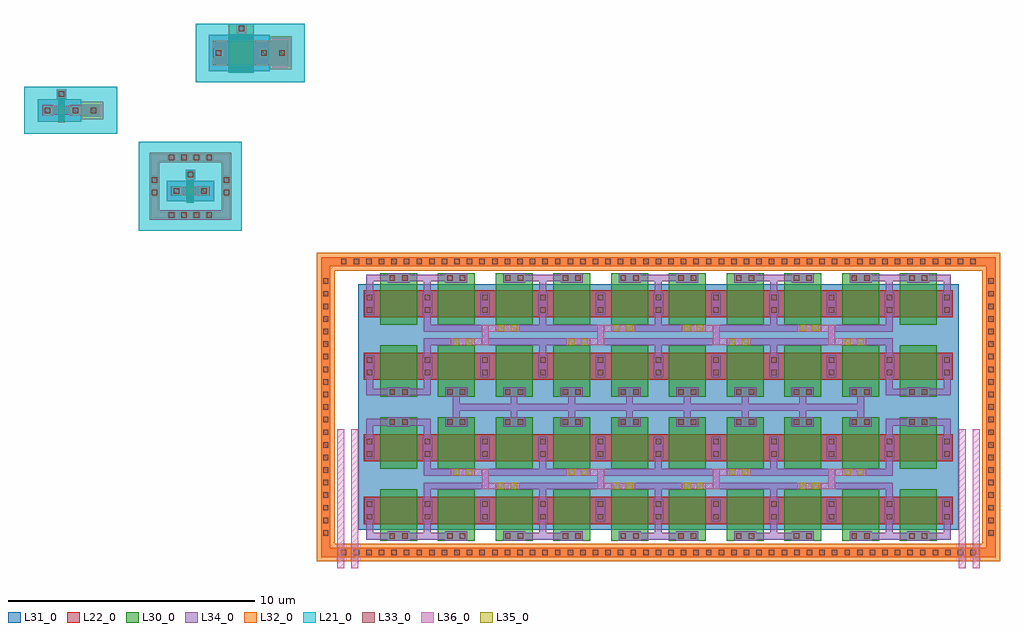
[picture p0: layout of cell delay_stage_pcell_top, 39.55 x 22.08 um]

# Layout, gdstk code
from math import pi, radians
import gdstk
lib = gdstk.Library(unit=1e-6, precision=5e-09)
def R(c, l, rs):  # rectangles x0, y0, x1, y1
    for r in rs: c.add(gdstk.rectangle(r[:2], r[2:], *l))
def A(c, l, x, y, w, h, nx, ny, dx, dy):  # array of equal rectangles
    R(c, l, [(x+i*dx, y+j*dy, x+i*dx+w, y+j*dy+h) for i in range(nx) for j in range(ny)])
def P(c, l, *ps):  # polygons
    for p in ps: c.add(gdstk.Polygon(p, *l))
L21_0 = (21, 0)
L22_0 = (22, 0)
L30_0 = (30, 0)
L31_0 = (31, 0)
L32_0 = (32, 0)
L33_0 = (33, 0)
L34_0 = (34, 0)
L35_0 = (35, 0)
L36_0 = (36, 0)

pfet = lib.new_cell('pfet')

pfet_2 = lib.new_cell('pfet$2')
R(pfet_2, L21_0, [(-1.76,-1.43,2.42,2.17)])
R(pfet_2, L22_0, [(-0.46,-0.01,0,0.37), (0.66,-0.01,1.12,0.37), (0,0,0.66,0.36)])
P(pfet_2, L22_0, [(-1.32,-0.99),(-1.32,1.35),(-0.94,1.35),(-0.94,-0.61),(1.6,-0.61),(1.6,1.35),(-1.32,1.35),(-1.32,1.73),(1.98,1.73),(1.98,-0.99)])
R(pfet_2, L30_0, [(0.19,-0.3,0.47,0.66), (0.14,0.66,0.52,1.04)])
R(pfet_2, L31_0, [(-0.63,-0.24,1.29,0.6)])
A(pfet_2, L33_0, -0.545, -0.91, 0.22, 0.22, 4, 2, 0.51, 2.34)
R(pfet_2, L33_0, [(-1.24,0.005,-1.02,0.225), (1.68,0.005,1.9,0.225), (-0.34,0.07,-0.12,0.29), (0.78,0.07,1,0.29), (-1.24,0.515,-1.02,0.735), (1.68,0.515,1.9,0.735), (0.22,0.74,0.44,0.96)])
R(pfet_2, L34_0, [(-0.42,-0.01,-0.04,0.37), (0.7,-0.01,1.08,0.37), (0.14,0.66,0.52,1.04)])

pfet_3 = lib.new_cell('pfet$3')
R(pfet_3, L21_0, [(-1.19,-0.77,2.58,1.13)])
R(pfet_3, L22_0, [(-0.46,-0.04,0,0.4), (0.66,-0.04,1.12,0.4), (1.12,-0.04,1.85,0.4), (0,0,0.66,0.36)])
R(pfet_3, L30_0, [(0.19,-0.3,0.47,0.66), (0.14,0.66,0.52,1.04)])
R(pfet_3, L31_0, [(-0.63,-0.28,1.12,0.64)])
R(pfet_3, L32_0, [(1.12,-0.17,2.02,0.53)])
R(pfet_3, L33_0, [(-0.34,0.07,-0.12,0.29), (0.78,0.07,1,0.29), (1.51,0.07,1.73,0.29), (0.22,0.74,0.44,0.96)])
R(pfet_3, L34_0, [(-0.42,-0.01,-0.04,0.37), (0.7,-0.01,1.08,0.37), (1.43,-0.01,1.81,0.37), (0.14,0.66,0.52,1.04)])

pfet_5 = lib.new_cell('pfet$5')
R(pfet_5, L21_0, [(-1.15,-0.69,3.26,1.69)])
R(pfet_5, L22_0, [(-0.46,0,0,1), (0,0,1.38,1), (1.38,0,1.84,1), (1.84,0,2.57,1)])
R(pfet_5, L30_0, [(0.19,-0.3,1.19,1.3), (0.19,1.3,1.19,1.68)])
R(pfet_5, L31_0, [(-0.63,-0.24,1.84,1.24)])
R(pfet_5, L32_0, [(1.84,-0.17,2.74,1.17)])
R(pfet_5, L33_0, [(-0.34,0.39,-0.12,0.61), (1.5,0.39,1.72,0.61), (2.23,0.39,2.45,0.61), (0.58,1.38,0.8,1.6)])
R(pfet_5, L34_0, [(-0.42,0.31,-0.04,0.69), (1.42,0.31,1.8,0.69), (2.15,0.31,2.53,0.69), (0.5,1.3,0.88,1.68)])

delay_stage_pcell_1_2_1 = lib.new_cell('delay_stage_pcell_1$2$1')
R(delay_stage_pcell_1_2_1, L22_0, [(0.17,0.3,0.63,1.4), (0.63,0.3,2.51,1.4), (2.51,0.3,2.97,1.4)])
R(delay_stage_pcell_1_2_1, L30_0, [(0.82,0,2.32,1.7)])
R(delay_stage_pcell_1_2_1, L33_0, [(0.29,0.485,0.51,0.705), (2.63,0.485,2.85,0.705), (0.29,0.995,0.51,1.215), (2.63,0.995,2.85,1.215)])
R(delay_stage_pcell_1_2_1, L34_0, [(0.21,0.405,0.59,1.295), (2.55,0.405,2.93,1.295)])

delay_stage_pcell_4_2 = lib.new_cell('delay_stage_pcell_4$2')
delay_stage_pcell_4_2.add(gdstk.Reference(delay_stage_pcell_1_2_1, (-0.17,0)))
delay_stage_pcell_4_2.add(gdstk.Reference(delay_stage_pcell_1_2_1, (2.17,0)))
delay_stage_pcell_4_2.add(gdstk.Reference(delay_stage_pcell_1_2_1, (4.51,0)))
delay_stage_pcell_4_2.add(gdstk.Reference(delay_stage_pcell_1_2_1, (6.85,0)))

delay_stage_pcell_4_4 = lib.new_cell('delay_stage_pcell_4_4')
R(delay_stage_pcell_4_4, L30_0, [(0.65,0,2.15,0.38), (0.65,0,2.15,0.38), (2.99,0,4.49,0.38), (2.99,0,4.49,0.38), (5.33,0,6.83,0.38), (5.33,0,6.83,0.38), (7.67,0,9.17,0.38), (7.67,0,9.17,0.38), (0.65,4.62,2.15,5), (0.65,4.62,2.15,5), (2.99,4.62,4.49,5), (2.99,4.62,4.49,5), (5.33,4.62,6.83,5), (5.33,4.62,6.83,5), (7.67,4.62,9.17,5), (7.67,4.62,9.17,5), (0.65,5.84,2.15,6.22), (0.65,5.84,2.15,6.22), (2.99,5.84,4.49,6.22), (2.99,5.84,4.49,6.22), (5.33,5.84,6.83,6.22), (5.33,5.84,6.83,6.22), (7.67,5.84,9.17,6.22), (7.67,5.84,9.17,6.22), (0.65,10.46,2.15,10.84), (0.65,10.46,2.15,10.84), (2.99,10.46,4.49,10.84), (2.99,10.46,4.49,10.84), (5.33,10.46,6.83,10.84), (5.33,10.46,6.83,10.84), (7.67,10.46,9.17,10.84), (7.67,10.46,9.17,10.84)])
R(delay_stage_pcell_4_4, L33_0, [(1.035,0.08,1.255,0.3), (1.035,0.08,1.255,0.3), (1.545,0.08,1.765,0.3), (1.545,0.08,1.765,0.3), (3.375,0.08,3.595,0.3), (3.375,0.08,3.595,0.3), (3.885,0.08,4.105,0.3), (3.885,0.08,4.105,0.3), (5.715,0.08,5.935,0.3), (5.715,0.08,5.935,0.3), (6.225,0.08,6.445,0.3), (6.225,0.08,6.445,0.3), (8.055,0.08,8.275,0.3), (8.055,0.08,8.275,0.3), (8.565,0.08,8.785,0.3), (8.565,0.08,8.785,0.3), (1.035,4.7,1.255,4.92), (1.035,4.7,1.255,4.92), (1.545,4.7,1.765,4.92), (1.545,4.7,1.765,4.92), (3.375,4.7,3.595,4.92), (3.375,4.7,3.595,4.92), (3.885,4.7,4.105,4.92), (3.885,4.7,4.105,4.92), (5.715,4.7,5.935,4.92), (5.715,4.7,5.935,4.92), (6.225,4.7,6.445,4.92), (6.225,4.7,6.445,4.92), (8.055,4.7,8.275,4.92), (8.055,4.7,8.275,4.92), (8.565,4.7,8.785,4.92), (8.565,4.7,8.785,4.92), (1.035,5.92,1.255,6.14), (1.035,5.92,1.255,6.14), (1.545,5.92,1.765,6.14), (1.545,5.92,1.765,6.14), (3.375,5.92,3.595,6.14), (3.375,5.92,3.595,6.14), (3.885,5.92,4.105,6.14), (3.885,5.92,4.105,6.14), (5.715,5.92,5.935,6.14), (5.715,5.92,5.935,6.14), (6.225,5.92,6.445,6.14), (6.225,5.92,6.445,6.14), (8.055,5.92,8.275,6.14), (8.055,5.92,8.275,6.14), (8.565,5.92,8.785,6.14), (8.565,5.92,8.785,6.14), (1.035,10.54,1.255,10.76), (1.035,10.54,1.255,10.76), (1.545,10.54,1.765,10.76), (1.545,10.54,1.765,10.76), (3.375,10.54,3.595,10.76), (3.375,10.54,3.595,10.76), (3.885,10.54,4.105,10.76), (3.885,10.54,4.105,10.76), (5.715,10.54,5.935,10.76), (5.715,10.54,5.935,10.76), (6.225,10.54,6.445,10.76), (6.225,10.54,6.445,10.76), (8.055,10.54,8.275,10.76), (8.055,10.54,8.275,10.76), (8.565,10.54,8.785,10.76), (8.565,10.54,8.785,10.76)])
R(delay_stage_pcell_4_4, L34_0, [(0.955,0,1.845,0.38), (3.295,0,4.185,0.38), (3.295,0,4.185,0.38), (5.635,0,6.525,0.38), (5.635,0,6.525,0.38), (7.975,0,8.865,0.38), (0.955,4.62,1.845,5), (0.955,4.62,1.845,5), (3.295,4.62,4.185,5), (3.295,4.62,4.185,5), (5.635,4.62,6.525,5), (5.635,4.62,6.525,5), (7.975,4.62,8.865,5), (0.955,5.84,1.845,6.22), (0.955,5.84,1.845,6.22), (3.295,5.84,4.185,6.22), (3.295,5.84,4.185,6.22), (5.635,5.84,6.525,6.22), (5.635,5.84,6.525,6.22), (7.975,5.84,8.865,6.22), (7.975,5.84,8.865,6.22), (0.955,10.46,1.845,10.84), (3.295,10.46,4.185,10.84), (3.295,10.46,4.185,10.84), (5.635,10.46,6.525,10.84), (5.635,10.46,6.525,10.84), (7.975,10.46,8.865,10.84)])
R(delay_stage_pcell_4_4, L35_0, [(1.27,2.09,1.53,2.35), (1.27,2.09,1.53,2.35), (1.79,2.09,2.05,2.35), (1.79,2.09,2.05,2.35), (5.95,2.09,6.21,2.35), (5.95,2.09,6.21,2.35), (6.47,2.09,6.73,2.35), (6.47,2.09,6.73,2.35), (3.09,2.65,3.35,2.91), (3.09,2.65,3.35,2.91), (3.61,2.65,3.87,2.91), (3.61,2.65,3.87,2.91), (7.77,2.65,8.03,2.91), (7.77,2.65,8.03,2.91), (8.29,2.65,8.55,2.91), (8.29,2.65,8.55,2.91), (3.09,7.93,3.35,8.19), (3.09,7.93,3.35,8.19), (3.61,7.93,3.87,8.19), (3.61,7.93,3.87,8.19), (7.77,7.93,8.03,8.19), (7.77,7.93,8.03,8.19), (8.29,7.93,8.55,8.19), (8.29,7.93,8.55,8.19), (1.27,8.49,1.53,8.75), (1.27,8.49,1.53,8.75), (1.79,8.49,2.05,8.75), (1.79,8.49,2.05,8.75), (5.95,8.49,6.21,8.75), (5.95,8.49,6.21,8.75), (6.47,8.49,6.73,8.75), (6.47,8.49,6.73,8.75)])
delay_stage_pcell_4_4.add(gdstk.FlexPath([(8.56,5.42),(0.23,5.42)], 0.28, ends="flush", simple_path=True, layer=34, datatype=0))  # L34_0
delay_stage_pcell_4_4.add(gdstk.FlexPath([(4.185,10.65),(5.635,10.65)], 0.28, ends="flush", simple_path=True, layer=34, datatype=0))  # L34_0
delay_stage_pcell_4_4.add(gdstk.FlexPath([(4.91,10.055),(4.91,10.51)], 0.28, ends="flush", simple_path=True, layer=34, datatype=0))  # L34_0
delay_stage_pcell_4_4.add(gdstk.FlexPath([(0.955,10.65),(0.23,10.65),(0.23,10.055)], 0.28, ends="flush", simple_path=True, layer=34, datatype=0))  # L34_0
delay_stage_pcell_4_4.add(gdstk.FlexPath([(8.865,10.65),(9.59,10.65),(9.59,10.055)], 0.28, ends="flush", simple_path=True, layer=34, datatype=0))  # L34_0
delay_stage_pcell_4_4.add(gdstk.FlexPath([(4.185,0.19),(5.635,0.19)], 0.28, ends="flush", simple_path=True, layer=34, datatype=0))  # L34_0
delay_stage_pcell_4_4.add(gdstk.FlexPath([(4.91,0.785),(4.91,0.33)], 0.28, ends="flush", simple_path=True, layer=34, datatype=0))  # L34_0
delay_stage_pcell_4_4.add(gdstk.FlexPath([(0.955,0.19),(0.23,0.19),(0.23,0.785)], 0.28, ends="flush", simple_path=True, layer=34, datatype=0))  # L34_0
delay_stage_pcell_4_4.add(gdstk.FlexPath([(8.865,0.19),(9.59,0.19),(9.59,0.785)], 0.28, ends="flush", simple_path=True, layer=34, datatype=0))  # L34_0
delay_stage_pcell_4_4.add(gdstk.FlexPath([(9.59,1.675),(9.59,2.22),(8.65,2.22)], 0.28, ends="flush", simple_path=True, layer=34, datatype=0))  # L34_0
delay_stage_pcell_4_4.add(gdstk.FlexPath([(9.59,1.675),(9.59,2.22),(8.65,2.22)], 0.28, ends="flush", simple_path=True, layer=34, datatype=0))  # L34_0
delay_stage_pcell_4_4.add(gdstk.FlexPath([(4.91,1.675),(4.91,2.08)], 0.28, ends="flush", simple_path=True, layer=34, datatype=0))  # L34_0
delay_stage_pcell_4_4.add(gdstk.FlexPath([(4.91,1.675),(4.91,2.08)], 0.28, ends="flush", simple_path=True, layer=34, datatype=0))  # L34_0
delay_stage_pcell_4_4.add(gdstk.FlexPath([(0.23,1.675),(0.23,2.22),(1.17,2.22)], 0.28, ends="flush", simple_path=True, layer=34, datatype=0))  # L34_0
delay_stage_pcell_4_4.add(gdstk.FlexPath([(0.23,1.675),(0.23,2.22),(1.17,2.22)], 0.28, ends="flush", simple_path=True, layer=34, datatype=0))  # L34_0
delay_stage_pcell_4_4.add(gdstk.FlexPath([(8.65,2.22),(7.25,2.22),(7.25,2.78),(5.85,2.78)], 0.28, ends="flush", simple_path=True, layer=34, datatype=0))  # L34_0
delay_stage_pcell_4_4.add(gdstk.FlexPath([(8.65,2.22),(7.25,2.22),(7.25,2.78),(5.85,2.78)], 0.28, ends="flush", simple_path=True, layer=34, datatype=0))  # L34_0
delay_stage_pcell_4_4.add(gdstk.FlexPath([(6.83,2.22),(5.85,2.22)], 0.28, ends="flush", simple_path=True, layer=34, datatype=0))  # L34_0
delay_stage_pcell_4_4.add(gdstk.FlexPath([(6.83,2.22),(5.85,2.22)], 0.28, ends="flush", simple_path=True, layer=34, datatype=0))  # L34_0
delay_stage_pcell_4_4.add(gdstk.FlexPath([(3.97,2.22),(5.85,2.22)], 0.28, ends="flush", simple_path=True, layer=34, datatype=0))  # L34_0
delay_stage_pcell_4_4.add(gdstk.FlexPath([(3.97,2.22),(5.85,2.22)], 0.28, ends="flush", simple_path=True, layer=34, datatype=0))  # L34_0
delay_stage_pcell_4_4.add(gdstk.FlexPath([(3.97,2.22),(2.57,2.22),(2.57,2.78),(1.17,2.78)], 0.28, ends="flush", simple_path=True, layer=34, datatype=0))  # L34_0
delay_stage_pcell_4_4.add(gdstk.FlexPath([(3.97,2.22),(2.57,2.22),(2.57,2.78),(1.17,2.78)], 0.28, ends="flush", simple_path=True, layer=34, datatype=0))  # L34_0
delay_stage_pcell_4_4.add(gdstk.FlexPath([(2.15,2.22),(1.17,2.22)], 0.28, ends="flush", simple_path=True, layer=34, datatype=0))  # L34_0
delay_stage_pcell_4_4.add(gdstk.FlexPath([(2.15,2.22),(1.17,2.22)], 0.28, ends="flush", simple_path=True, layer=34, datatype=0))  # L34_0
delay_stage_pcell_4_4.add(gdstk.FlexPath([(8.65,2.78),(7.67,2.78)], 0.28, ends="flush", simple_path=True, layer=34, datatype=0))  # L34_0
delay_stage_pcell_4_4.add(gdstk.FlexPath([(8.65,2.78),(7.67,2.78)], 0.28, ends="flush", simple_path=True, layer=34, datatype=0))  # L34_0
delay_stage_pcell_4_4.add(gdstk.FlexPath([(3.97,2.78),(5.85,2.78)], 0.28, ends="flush", simple_path=True, layer=34, datatype=0))  # L34_0
delay_stage_pcell_4_4.add(gdstk.FlexPath([(3.97,2.78),(5.85,2.78)], 0.28, ends="flush", simple_path=True, layer=34, datatype=0))  # L34_0
delay_stage_pcell_4_4.add(gdstk.FlexPath([(3.97,2.78),(2.99,2.78)], 0.28, ends="flush", simple_path=True, layer=34, datatype=0))  # L34_0
delay_stage_pcell_4_4.add(gdstk.FlexPath([(3.97,2.78),(2.99,2.78)], 0.28, ends="flush", simple_path=True, layer=34, datatype=0))  # L34_0
delay_stage_pcell_4_4.add(gdstk.FlexPath([(1.17,2.78),(0.23,2.78),(0.23,3.325)], 0.28, ends="flush", simple_path=True, layer=34, datatype=0))  # L34_0
delay_stage_pcell_4_4.add(gdstk.FlexPath([(1.17,2.78),(0.23,2.78),(0.23,3.325)], 0.28, ends="flush", simple_path=True, layer=34, datatype=0))  # L34_0
delay_stage_pcell_4_4.add(gdstk.FlexPath([(9.59,3.325),(9.59,2.78),(8.65,2.78)], 0.28, ends="flush", simple_path=True, layer=34, datatype=0))  # L34_0
delay_stage_pcell_4_4.add(gdstk.FlexPath([(9.59,3.325),(9.59,2.78),(8.65,2.78)], 0.28, ends="flush", simple_path=True, layer=34, datatype=0))  # L34_0
delay_stage_pcell_4_4.add(gdstk.FlexPath([(4.91,3.325),(4.91,2.92)], 0.28, ends="flush", simple_path=True, layer=34, datatype=0))  # L34_0
delay_stage_pcell_4_4.add(gdstk.FlexPath([(4.91,3.325),(4.91,2.92)], 0.28, ends="flush", simple_path=True, layer=34, datatype=0))  # L34_0
delay_stage_pcell_4_4.add(gdstk.FlexPath([(9.59,7.515),(9.59,8.06),(8.65,8.06)], 0.28, ends="flush", simple_path=True, layer=34, datatype=0))  # L34_0
delay_stage_pcell_4_4.add(gdstk.FlexPath([(9.59,9.165),(9.59,8.62),(8.65,8.62)], 0.28, ends="flush", simple_path=True, layer=34, datatype=0))  # L34_0
delay_stage_pcell_4_4.add(gdstk.FlexPath([(4.91,9.165),(4.91,8.76)], 0.28, ends="flush", simple_path=True, layer=34, datatype=0))  # L34_0
delay_stage_pcell_4_4.add(gdstk.FlexPath([(4.91,7.515),(4.91,7.92)], 0.28, ends="flush", simple_path=True, layer=34, datatype=0))  # L34_0
delay_stage_pcell_4_4.add(gdstk.FlexPath([(1.17,8.06),(0.23,8.06),(0.23,7.515)], 0.28, ends="flush", simple_path=True, layer=34, datatype=0))  # L34_0
delay_stage_pcell_4_4.add(gdstk.FlexPath([(0.23,9.165),(0.23,8.62),(1.17,8.62)], 0.28, ends="flush", simple_path=True, layer=34, datatype=0))  # L34_0
delay_stage_pcell_4_4.add(gdstk.FlexPath([(8.65,8.62),(7.25,8.62),(7.25,8.06),(5.85,8.06)], 0.28, ends="flush", simple_path=True, layer=34, datatype=0))  # L34_0
delay_stage_pcell_4_4.add(gdstk.FlexPath([(3.97,8.62),(2.57,8.62),(2.57,8.06),(1.17,8.06)], 0.28, ends="flush", simple_path=True, layer=34, datatype=0))  # L34_0
delay_stage_pcell_4_4.add(gdstk.FlexPath([(2.15,8.62),(1.17,8.62)], 0.28, ends="flush", simple_path=True, layer=34, datatype=0))  # L34_0
delay_stage_pcell_4_4.add(gdstk.FlexPath([(3.97,8.06),(2.99,8.06)], 0.28, ends="flush", simple_path=True, layer=34, datatype=0))  # L34_0
delay_stage_pcell_4_4.add(gdstk.FlexPath([(8.65,8.06),(7.67,8.06)], 0.28, ends="flush", simple_path=True, layer=34, datatype=0))  # L34_0
delay_stage_pcell_4_4.add(gdstk.FlexPath([(6.83,8.62),(5.85,8.62)], 0.28, ends="flush", simple_path=True, layer=34, datatype=0))  # L34_0
delay_stage_pcell_4_4.add(gdstk.FlexPath([(3.97,8.62),(5.85,8.62)], 0.28, ends="flush", simple_path=True, layer=34, datatype=0))  # L34_0
delay_stage_pcell_4_4.add(gdstk.FlexPath([(3.97,8.06),(5.85,8.06)], 0.28, ends="flush", simple_path=True, layer=34, datatype=0))  # L34_0
delay_stage_pcell_4_4.add(gdstk.FlexPath([(3.97,8.06),(5.85,8.06)], 0.28, ends="flush", simple_path=True, layer=34, datatype=0))  # L34_0
delay_stage_pcell_4_4.add(gdstk.FlexPath([(3.97,8.62),(5.85,8.62)], 0.28, ends="flush", simple_path=True, layer=34, datatype=0))  # L34_0
delay_stage_pcell_4_4.add(gdstk.FlexPath([(6.83,8.62),(5.85,8.62)], 0.28, ends="flush", simple_path=True, layer=34, datatype=0))  # L34_0
delay_stage_pcell_4_4.add(gdstk.FlexPath([(8.65,8.06),(7.67,8.06)], 0.28, ends="flush", simple_path=True, layer=34, datatype=0))  # L34_0
delay_stage_pcell_4_4.add(gdstk.FlexPath([(3.97,8.06),(2.99,8.06)], 0.28, ends="flush", simple_path=True, layer=34, datatype=0))  # L34_0
delay_stage_pcell_4_4.add(gdstk.FlexPath([(2.15,8.62),(1.17,8.62)], 0.28, ends="flush", simple_path=True, layer=34, datatype=0))  # L34_0
delay_stage_pcell_4_4.add(gdstk.FlexPath([(3.97,8.62),(2.57,8.62),(2.57,8.06),(1.17,8.06)], 0.28, ends="flush", simple_path=True, layer=34, datatype=0))  # L34_0
delay_stage_pcell_4_4.add(gdstk.FlexPath([(8.65,8.62),(7.25,8.62),(7.25,8.06),(5.85,8.06)], 0.28, ends="flush", simple_path=True, layer=34, datatype=0))  # L34_0
delay_stage_pcell_4_4.add(gdstk.FlexPath([(0.23,9.165),(0.23,8.62),(1.17,8.62)], 0.28, ends="flush", simple_path=True, layer=34, datatype=0))  # L34_0
delay_stage_pcell_4_4.add(gdstk.FlexPath([(1.17,8.06),(0.23,8.06),(0.23,7.515)], 0.28, ends="flush", simple_path=True, layer=34, datatype=0))  # L34_0
delay_stage_pcell_4_4.add(gdstk.FlexPath([(4.91,7.515),(4.91,7.92)], 0.28, ends="flush", simple_path=True, layer=34, datatype=0))  # L34_0
delay_stage_pcell_4_4.add(gdstk.FlexPath([(4.91,9.165),(4.91,8.76)], 0.28, ends="flush", simple_path=True, layer=34, datatype=0))  # L34_0
delay_stage_pcell_4_4.add(gdstk.FlexPath([(9.59,9.165),(9.59,8.62),(8.65,8.62)], 0.28, ends="flush", simple_path=True, layer=34, datatype=0))  # L34_0
delay_stage_pcell_4_4.add(gdstk.FlexPath([(9.59,7.515),(9.59,8.06),(8.65,8.06)], 0.28, ends="flush", simple_path=True, layer=34, datatype=0))  # L34_0
delay_stage_pcell_4_4.add(gdstk.FlexPath([(8.42,5),(8.42,5.28)], 0.28, ends="flush", simple_path=True, layer=34, datatype=0))  # L34_0
delay_stage_pcell_4_4.add(gdstk.FlexPath([(8.42,5.84),(8.42,5.56)], 0.28, ends="flush", simple_path=True, layer=34, datatype=0))  # L34_0
delay_stage_pcell_4_4.add(gdstk.FlexPath([(6.08,5),(6.08,5.28)], 0.28, ends="flush", simple_path=True, layer=34, datatype=0))  # L34_0
delay_stage_pcell_4_4.add(gdstk.FlexPath([(6.08,5.84),(6.08,5.56)], 0.28, ends="flush", simple_path=True, layer=34, datatype=0))  # L34_0
delay_stage_pcell_4_4.add(gdstk.FlexPath([(3.74,5),(3.74,5.28)], 0.28, ends="flush", simple_path=True, layer=34, datatype=0))  # L34_0
delay_stage_pcell_4_4.add(gdstk.FlexPath([(3.74,5.84),(3.74,5.56)], 0.28, ends="flush", simple_path=True, layer=34, datatype=0))  # L34_0
delay_stage_pcell_4_4.add(gdstk.FlexPath([(1.4,5),(1.4,5.28)], 0.28, ends="flush", simple_path=True, layer=34, datatype=0))  # L34_0
delay_stage_pcell_4_4.add(gdstk.FlexPath([(1.4,5.84),(1.4,5.56)], 0.28, ends="flush", simple_path=True, layer=34, datatype=0))  # L34_0
delay_stage_pcell_4_4.add(gdstk.FlexPath([(8.65,2.78),(7.25,2.78),(7.25,2.22),(5.85,2.22)], 0.28, ends="flush", simple_path=True, layer=36, datatype=0))  # L36_0
delay_stage_pcell_4_4.add(gdstk.FlexPath([(8.65,2.78),(7.25,2.78),(7.25,2.22),(5.85,2.22)], 0.28, ends="flush", simple_path=True, layer=36, datatype=0))  # L36_0
delay_stage_pcell_4_4.add(gdstk.FlexPath([(3.97,2.78),(2.57,2.78),(2.57,2.22),(1.17,2.22)], 0.28, ends="flush", simple_path=True, layer=36, datatype=0))  # L36_0
delay_stage_pcell_4_4.add(gdstk.FlexPath([(3.97,2.78),(2.57,2.78),(2.57,2.22),(1.17,2.22)], 0.28, ends="flush", simple_path=True, layer=36, datatype=0))  # L36_0
delay_stage_pcell_4_4.add(gdstk.FlexPath([(3.97,8.06),(2.57,8.06),(2.57,8.62),(1.17,8.62)], 0.28, ends="flush", simple_path=True, layer=36, datatype=0))  # L36_0
delay_stage_pcell_4_4.add(gdstk.FlexPath([(8.65,8.06),(7.25,8.06),(7.25,8.62),(5.85,8.62)], 0.28, ends="flush", simple_path=True, layer=36, datatype=0))  # L36_0
delay_stage_pcell_4_4.add(gdstk.FlexPath([(8.65,8.06),(7.25,8.06),(7.25,8.62),(5.85,8.62)], 0.28, ends="flush", simple_path=True, layer=36, datatype=0))  # L36_0
delay_stage_pcell_4_4.add(gdstk.FlexPath([(3.97,8.06),(2.57,8.06),(2.57,8.62),(1.17,8.62)], 0.28, ends="flush", simple_path=True, layer=36, datatype=0))  # L36_0
delay_stage_pcell_4_4.add(gdstk.Reference(delay_stage_pcell_4_2, (9.82,7.92), rotation=pi))
delay_stage_pcell_4_4.add(gdstk.Reference(delay_stage_pcell_4_2, (9.82,2.08), rotation=pi))
delay_stage_pcell_4_4.add(gdstk.Reference(delay_stage_pcell_4_2, (9.82,8.76), rotation=pi, x_reflection=True))
delay_stage_pcell_4_4.add(gdstk.Reference(delay_stage_pcell_4_2, (9.82,2.92), rotation=pi, x_reflection=True))

delay_stage_pcell_1_1 = lib.new_cell('delay_stage_pcell_1$1')
R(delay_stage_pcell_1_1, L22_0, [(0.17,0.3,0.63,1.4), (0.63,0.3,2.51,1.4), (2.51,0.3,2.97,1.4)])
R(delay_stage_pcell_1_1, L30_0, [(0.82,0,2.32,1.7)])
R(delay_stage_pcell_1_1, L33_0, [(0.29,0.485,0.51,0.705), (2.63,0.485,2.85,0.705), (0.29,0.995,0.51,1.215), (2.63,0.995,2.85,1.215)])
R(delay_stage_pcell_1_1, L34_0, [(0.21,0.405,0.59,1.295), (2.55,0.405,2.93,1.295)])

delay_stage_pcell_1_4 = lib.new_cell('delay_stage_pcell_1_4')
R(delay_stage_pcell_1_4, L30_0, [(0.65,0,2.15,0.38), (0.65,4.62,2.15,5), (0.65,5.84,2.15,6.22), (0.65,10.46,2.15,10.84)])
R(delay_stage_pcell_1_4, L33_0, [(1.035,0.08,1.255,0.3), (1.545,0.08,1.765,0.3), (1.035,4.7,1.255,4.92), (1.545,4.7,1.765,4.92), (1.035,5.92,1.255,6.14), (1.545,5.92,1.765,6.14), (1.035,10.54,1.255,10.76), (1.545,10.54,1.765,10.76)])
R(delay_stage_pcell_1_4, L34_0, [(0.955,0,1.845,0.38), (0.955,4.62,1.845,5), (0.955,5.84,1.845,6.22), (0.955,10.46,1.845,10.84)])
delay_stage_pcell_1_4.add(gdstk.FlexPath([(2.57,10.055),(2.57,10.65),(0.23,10.65),(0.23,10.055)], 0.28, ends="flush", simple_path=True, layer=34, datatype=0))  # L34_0
delay_stage_pcell_1_4.add(gdstk.FlexPath([(2.57,0.785),(2.57,0.19),(0.23,0.19),(0.23,0.785)], 0.28, ends="flush", simple_path=True, layer=34, datatype=0))  # L34_0
delay_stage_pcell_1_4.add(gdstk.FlexPath([(2.57,6.625),(2.57,6.03),(0.23,6.03),(0.23,6.625)], 0.28, ends="flush", simple_path=True, layer=34, datatype=0))  # L34_0
delay_stage_pcell_1_4.add(gdstk.FlexPath([(2.57,4.215),(2.57,4.81),(0.23,4.81),(0.23,4.215)], 0.28, ends="flush", simple_path=True, layer=34, datatype=0))  # L34_0
delay_stage_pcell_1_4.add(gdstk.Reference(delay_stage_pcell_1_1, (-0.17,6.22)))
delay_stage_pcell_1_4.add(gdstk.Reference(delay_stage_pcell_1_1, (-0.17,0.38)))
delay_stage_pcell_1_4.add(gdstk.Reference(delay_stage_pcell_1_1, (-0.17,2.92)))
delay_stage_pcell_1_4.add(gdstk.Reference(delay_stage_pcell_1_1, (-0.17,8.76)))

delay_stage_pcell_top = lib.new_cell('delay_stage_pcell_top')
R(delay_stage_pcell_top, L31_0, [(20.385,3.685,44.725,13.65)])
A(delay_stage_pcell_top, L33_0, 19.695, 2.665, 0.22, 0.22, 51, 2, 0.51, 11.78)
A(delay_stage_pcell_top, L33_0, 18.965, 3.455, 0.22, 0.22, 1, 21, 0, 0.51)
A(delay_stage_pcell_top, L33_0, 45.925, 3.455, 0.22, 0.22, 1, 21, 0, 0.51)
delay_stage_pcell_top.add(gdstk.FlexPath([(46.035,14.745),(46.035,2.775),(19.075,2.775),(19.075,14.555),(45.845,14.555)], 0.38, ends="flush", simple_path=True, layer=22, datatype=0))  # L22_0
delay_stage_pcell_top.add(gdstk.FlexPath([(44.865,2.125),(44.865,7.77)], 0.28, ends="flush", simple_path=True, layer=36, datatype=0))  # L36_0
delay_stage_pcell_top.add(gdstk.FlexPath([(45.425,2.125),(45.425,7.77)], 0.28, ends="flush", simple_path=True, layer=36, datatype=0))  # L36_0
delay_stage_pcell_top.add(gdstk.FlexPath([(19.685,2.125),(19.685,7.77)], 0.28, ends="flush", simple_path=True, layer=36, datatype=0))  # L36_0
delay_stage_pcell_top.add(gdstk.FlexPath([(20.245,2.125),(20.245,7.77)], 0.28, ends="flush", simple_path=True, layer=36, datatype=0))  # L36_0
delay_stage_pcell_top.add(gdstk.FlexPath([(46.035,14.915),(46.035,2.775),(19.075,2.775),(19.075,14.555),(45.845,14.555)], 0.72, ends="flush", simple_path=True, layer=32, datatype=0))  # L32_0
delay_stage_pcell_top.add(gdstk.Reference(pfet, (15.5,13.74)))
delay_stage_pcell_top.add(gdstk.Reference(pfet_2, (13.26,17.24)))
delay_stage_pcell_top.add(gdstk.Reference(pfet_3, (8.04,20.505)))
delay_stage_pcell_top.add(gdstk.Reference(pfet_5, (14.965,22.515)))
delay_stage_pcell_top.add(gdstk.Reference(delay_stage_pcell_4_4, (32.785,3.245), rotation=pi, x_reflection=True))
delay_stage_pcell_top.add(gdstk.Reference(delay_stage_pcell_4_4, (32.325,3.245)))
delay_stage_pcell_top.add(gdstk.Reference(delay_stage_pcell_1_4, (44.485,3.245), rotation=pi, x_reflection=True))
delay_stage_pcell_top.add(gdstk.Reference(delay_stage_pcell_1_4, (23.425,3.245), rotation=pi, x_reflection=True))

lib.write_gds('delay_stage_pcell_top.gds')
